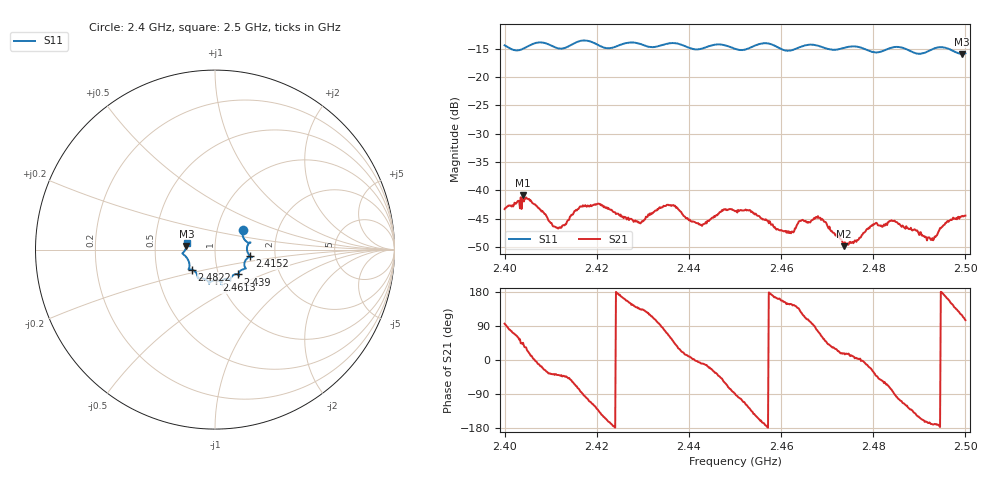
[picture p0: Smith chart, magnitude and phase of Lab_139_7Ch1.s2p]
# Hz S RI R 50
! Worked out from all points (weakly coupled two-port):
!   601 points, 2.4 GHz to 2.5 GHz, reference 50 ohm
!   highest |S21| = -40.85 dB at 2.404 GHz (marker M1); lowest = -49.9 dB at 2.4737 GHz (marker M2)
!   lowest |S11| = -15.9 dB at 2.4992 GHz (marker M3), VSWR 1.38, Z = 36.3 + j1.4 ohm
!   |S11| at or under -10 dB: start of sweep to end of sweep
!   S12 and S22 are empty: the file has one direction only
!   S11 on the Smith chart (normalised r, x): 2.4 GHz: 1.33, +0.30; 2.4152 GHz: 1.48, -0.11; 2.439 GHz: 1.24, -0.35; 2.4613 GHz: 0.96, -0.34; 2.4822 GHz: 0.76, -0.17; 2.5 GHz: 0.73, +0.05
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2.4e9  0.1549 0.1105  -0.000694 0.0068  0 0  0 0
2.404e9  0.1711 0.0483  0.00637 0.00646  0 0  0 0
2.411167e9  0.1802 0.019  0.00373 -0.00285  0 0  0 0
2.415167e9  0.1953 -0.0363  0.00292 -0.00588  0 0  0 0
2.416667e9  0.2049 -0.0423  0.000615 -0.00717  0 0  0 0
2.420667e9  0.1825 -0.046  -0.00562 -0.00497  0 0  0 0
2.429167e9  0.1663 -0.1063  -0.00378 0.0036  0 0  0 0
2.433333e9  0.1317 -0.1327  -0.000899 0.00674  0 0  0 0
2.4365e9  0.1345 -0.1471  0.00464 0.00574  0 0  0 0
2.439e9  0.1276 -0.1383  0.00567 0.00166  0 0  0 0
2.442667e9  0.0931 -0.1509  0.0049 -0.000828  0 0  0 0
2.45e9  0.0686 -0.1636  0.000138 -0.00655  0 0  0 0
2.456667e9  0.0391 -0.1949  -0.00551 -0.000734  0 0  0 0
2.461333e9  0.00764 -0.1704  -0.00375 0.00222  0 0  0 0
2.466667e9  -0.0332 -0.19  -0.000556 0.00543  0 0  0 0
2.4685e9  -0.034 -0.1829  0.00212 0.00532  0 0  0 0
2.473667e9  -0.0837 -0.1603  0.00306 0.000991  0 0  0 0
2.482167e9  -0.1281 -0.1121  0.00266 -0.00407  0 0  0 0
2.483333e9  -0.1395 -0.1105  0.00188 -0.00489  0 0  0 0
2.492667e9  -0.1722 -0.0298  -0.00359 -0.000707  0 0  0 0
2.499167e9  -0.159 0.0188  -0.00292 0.00514  0 0  0 0
2.5e9  -0.158 0.034  -0.00157 0.00577  0 0  0 0
